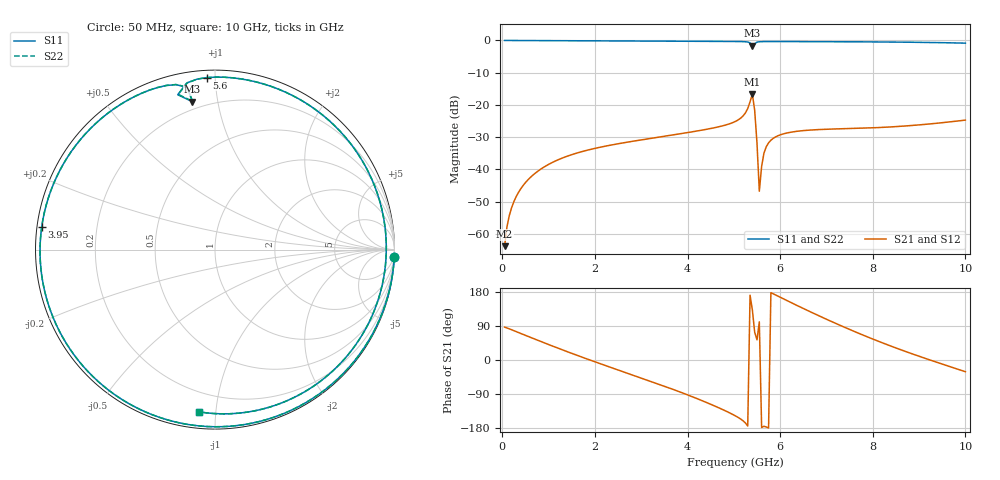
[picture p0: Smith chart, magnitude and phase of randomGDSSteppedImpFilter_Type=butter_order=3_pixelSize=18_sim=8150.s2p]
! freq	dB(S11)	phase(S11)	dB(S12)	phase(S12)
!  dB(S21)	phase(S21)	dB(S22)	phase(S22)
!S-par simulation data
#  GHz  S  DB  R 50
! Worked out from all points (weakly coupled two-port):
!   200 points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, 50 MHz to 10 GHz, reference 50 ohm
!   highest |S21| = -16.70 dB at 5.4 GHz (marker M1); lowest = -63.9 dB at 50 MHz (marker M2)
!   lowest |S11| = -1.6 dB at 5.4 GHz (marker M3), VSWR 11.04, Z = 7.82 + j42.3 ohm
!   |S11| at or under -10 dB: nowhere
!   |S22| runs from -1.6 to 0.0 dB; largest |S21 - S12| = 0
!   S11 on the Smith chart (normalised r, x): 50 MHz: 0, -45; 3.95 GHz: 0.01, +0.07; 5.6 GHz: 0.04, +0.95; 10 GHz: 0.09, -0.90
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0.05  -0.00 -2.5  -63.86 86.7  -63.86 86.7  -0.00 -2.5
0.2  -0.01 -10.0  -51.96 79.9  -51.96 79.9  -0.01 -10.0
0.5  -0.04 -24.9  -44.13 65.1  -44.13 65.1  -0.04 -24.9
1.15  -0.07 -56.7  -37.39 33.7  -37.39 33.7  -0.07 -56.6
1.75  -0.11 -85.3  -34.38 6.2  -34.38 6.2  -0.11 -85.3
2.5  -0.15 -120.1  -32.07 -26.3  -32.07 -26.3  -0.15 -120.1
3.4  -0.20 -161.7  -29.97 -64.7  -29.97 -64.7  -0.20 -161.7
3.95  -0.23 172.4  -28.72 -89.6  -28.72 -89.6  -0.23 172.4
5.05  -0.32 117.8  -25.02 -148.5  -25.02 -148.5  -0.32 117.7
5.25  -0.41 106.6  -22.50 -166.1  -22.50 -166.1  -0.41 106.5
5.4  -1.58 98.7  -16.70 132.2  -16.70 132.2  -1.56 98.6
5.45  -1.04 103.5  -21.72 73.2  -21.72 73.2  -1.02 103.3
5.5  -0.52 99.6  -31.88 53.3  -31.88 53.3  -0.52 99.4
5.55  -0.40 96.0  -46.80 100.7  -46.80 100.7  -0.40 95.8
5.6  -0.36 92.8  -39.11 -178.2  -39.11 -178.2  -0.36 92.6
5.7  -0.34 87.0  -32.99 -176.7  -32.99 -176.7  -0.34 86.9
5.85  -0.34 79.0  -30.39 174.7  -30.39 174.7  -0.34 78.8
6.7  -0.37 36.1  -27.77 124.4  -27.77 124.4  -0.37 35.9
7.5  -0.41 -1.0  -27.35 80.6  -27.35 80.6  -0.41 -1.1
8.35  -0.49 -36.1  -26.88 38.6  -26.88 38.6  -0.48 -36.2
9.15  -0.61 -65.7  -26.02 3.6  -26.02 3.6  -0.61 -65.8
10  -0.84 -95.6  -24.72 -30.9  -24.72 -30.9  -0.83 -95.5
